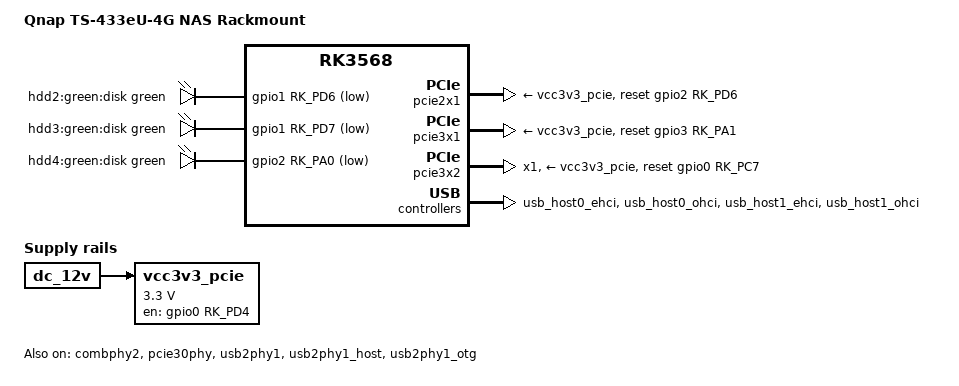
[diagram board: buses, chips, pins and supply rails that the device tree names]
// SPDX-License-Identifier: (GPL-2.0-or-later OR MIT)
/*
 * Copyright (c) 2021 Rockchip Electronics Co., Ltd.
 * Copyright (c) 2024 Uwe Kleine-König
 * Copyright (c) 2025 Ahmad Fatoum
 */


/dts-v1/;

#include <arm64/rockchip/rk3568-qnap-tsx33.dtsi>
#include "rk356x.dtsi"

/ {
	model = "Qnap TS-433eU-4G NAS Rackmount";
	compatible = "qnap,ts433eu", "rockchip,rk3568";

	vcc3v3_pcie: regulator-vcc3v3-pcie {
		compatible = "regulator-fixed";
		regulator-name = "vcc3v3_pcie";
		regulator-min-microvolt = <3300000>;
		regulator-max-microvolt = <3300000>;
		enable-active-high;
		gpios = <&gpio0 RK_PD4 GPIO_ACTIVE_HIGH>;
		vin-supply = <&dc_12v>;
	};
};

&combphy2 {
	status = "okay";
};
&leds {
	led-1 {
		color = <LED_COLOR_ID_GREEN>;
		function = LED_FUNCTION_DISK;
		gpios = <&gpio1 RK_PD6 GPIO_ACTIVE_LOW>;
		label = "hdd2:green:disk";
		linux,default-trigger = "disk-activity";
		pinctrl-names = "default";
		pinctrl-0 = <&hdd2_led_pin>;
	};

	led-2 {
		color = <LED_COLOR_ID_GREEN>;
		function = LED_FUNCTION_DISK;
		gpios = <&gpio1 RK_PD7 GPIO_ACTIVE_LOW>;
		label = "hdd3:green:disk";
		linux,default-trigger = "disk-activity";
		pinctrl-names = "default";
		pinctrl-0 = <&hdd3_led_pin>;
	};

	led-3 {
		color = <LED_COLOR_ID_GREEN>;
		function = LED_FUNCTION_DISK;
		gpios = <&gpio2 RK_PA0 GPIO_ACTIVE_LOW>;
		label = "hdd4:green:disk";
		linux,default-trigger = "disk-activity";
		pinctrl-names = "default";
		pinctrl-0 = <&hdd4_led_pin>;
	};
};

&mcu {
	compatible = "qnap,ts433-mcu";
};

&pcie30phy {
	data-lanes = <1 2>;
	status = "okay";
};

/* Connected to RTL8125 */
&pcie2x1 {
	reset-gpios = <&gpio2 RK_PD6 GPIO_ACTIVE_HIGH>;
	vpcie3v3-supply = <&vcc3v3_pcie>;
	status = "okay";
};

/* Connected to RTL8125 */
&pcie3x1 {
	reset-gpios = <&gpio3 RK_PA1 GPIO_ACTIVE_HIGH>;
	vpcie3v3-supply = <&vcc3v3_pcie>;
	status = "okay";
};

/* Connected to ASM1064 SATA Controller */
&pcie3x2 {
	num-lanes = <1>;
	reset-gpios = <&gpio0 RK_PC7 GPIO_ACTIVE_HIGH>;
	vpcie3v3-supply = <&vcc3v3_pcie>;
	status = "okay";
};

/* Internal SATA controllers not used, ASM1064 used instead */
&sata1 {
	status = "disabled";
};

&pinctrl {
	leds {
		hdd2_led_pin: hdd2-led-pin {
			rockchip,pins = <1 RK_PD6 RK_FUNC_GPIO &pcfg_pull_up>;
		};

		hdd3_led_pin: hdd3-led-pin {
			rockchip,pins = <1 RK_PD7 RK_FUNC_GPIO &pcfg_pull_up>;
		};

		hdd4_led_pin: hdd4_led-pin {
			rockchip,pins = <2 RK_PA0 RK_FUNC_GPIO &pcfg_pull_up>;
		};
	};
};

&usb2phy1 {
	status = "okay";
};

/* connected to usb_host1_ehci/ohci */
&usb2phy1_host {
	phy-supply = <&vcc5v0_host>;
	status = "okay";
};

/* connected to usb_host0_ehci/ohci */
&usb2phy1_otg {
	phy-supply = <&vcc5v0_host>;
	status = "okay";
};

&usb_host0_ehci {
	status = "okay";
};

&usb_host0_ohci {
	status = "okay";
};

&usb_host1_ehci {
	status = "okay";
};

&usb_host1_ohci {
	status = "okay";
};

&usb_host0_xhci {
	/*
	 * This USB-A port is used by MaskROM for recovery and by barebox
	 * to provide fastboot and other gadgets, so we configure it as otg
	 * and expect users to explicitly set otg.mode=peripheral or =host.
	 */
	barebox,dr_mode = "otg";
};

/* Otherwise, I/O errors both in barebox and Linux.. */
&sdhci {
	max-frequency = <52000000>;
};
